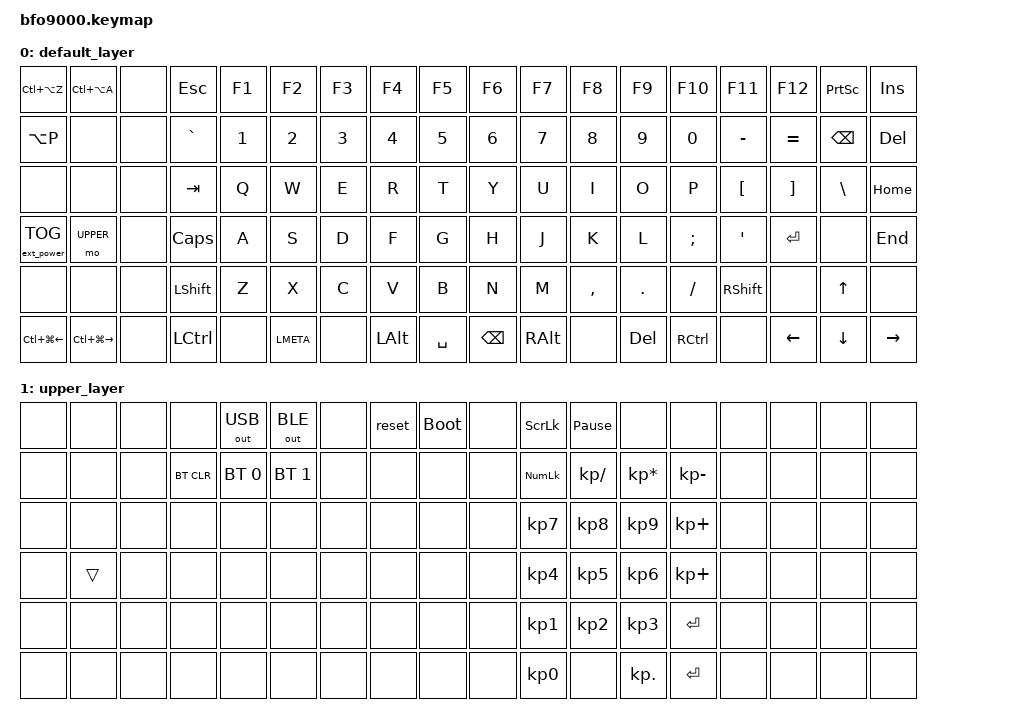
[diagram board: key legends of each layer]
/*
 * Copyright (c) 2020 The ZMK Contributors
 *
 * SPDX-License-Identifier: MIT
 */

#include <behaviors.dtsi>
#include <dt-bindings/zmk/keys.h>
#include <dt-bindings/zmk/bt.h>
#include <dt-bindings/zmk/outputs.h>
#include <dt-bindings/zmk/ext_power.h>	
#include <dt-bindings/zmk/rgb.h>

&kscan0 {
    debounce-period = <20>;
};

&i2c0 {
    status = "okay";
    sda-pin = <17>;
    scl-pin = <20>;

    oled: ssd1306@3c {
        compatible = "solomon,ssd1306fb";
        reg = <0x3c>;
        label = "DISPLAY";
        width = <128>;
        height = <32>;
        segment-offset = <0>;
        page-offset = <0>;
        display-offset = <0>;
        multiplex-ratio = <31>;
        com-invdir;
        segment-remap;
        com-sequential;
        prechargep = <0x22>;
    };
};

#define DEFAULT 0
#define UPPER   1

/ {
	keymap {
		compatible = "zmk,keymap";

		default_layer {
			bindings = <
			&kp LC(LA(Z))    &kp LC(LA(A))      &none          &kp ESC         &kp F1          &kp F2          &kp F3       &kp F4       &kp F5       &kp F6           &kp F7            &kp F8          &kp F9          &kp F10         &kp F11         &kp F12      &kp PSCRN    &kp INS
			&kp LA(P)        &none              &none          &kp GRAVE       &kp N1          &kp N2          &kp N3       &kp N4       &kp N5       &kp N6           &kp N7            &kp N8          &kp N9          &kp N0          &kp MINUS       &kp EQUAL    &kp BSPC     &kp DEL
			&none            &none              &none          &kp TAB         &kp Q           &kp W           &kp E        &kp R        &kp T        &kp Y            &kp U             &kp I           &kp O           &kp P           &kp LBKT        &kp RBKT     &kp BSLH     &kp HOME
			&ext_power EP_TOG &mo UPPER         &none          &kp CAPS        &kp A           &kp S           &kp D        &kp F        &kp G        &kp H            &kp J             &kp K           &kp L           &kp SEMI        &kp APOS        &kp ENTER    &none        &kp END
			&none            &none              &none          &kp LSHFT       &kp Z           &kp X           &kp C        &kp V        &kp B        &kp N            &kp M             &kp COMMA       &kp DOT         &kp SLASH       &kp RSHFT       &none        &kp UP       &none
			&kp LC(LG(LEFT)) &kp LC(LG(RIGHT))  &none          &kp LCTRL       &none           &kp LMETA       &none        &kp LALT     &kp SPACE    &kp BSPC         &kp RALT          &none           &kp DEL         &kp RCTRL       &none           &kp LEFT     &kp DOWN     &kp RIGHT
			>;
		};

		upper_layer {
			bindings = <
			&none            &none             &none           &none           &out OUT_USB    &out OUT_BLE    &none        &reset       &bootloader  &none            &kp SCROLLLOCK    &kp PAUSE_BREAK &none           &none           &none           &none        &none        &none
			&none            &none             &none           &bt BT_CLR      &bt BT_SEL 0    &bt BT_SEL 1    &none        &none        &none        &none            &kp KP_NUMLOCK    &kp KP_DIVIDE   &kp KP_MULTIPLY &kp KP_MINUS    &none           &none        &none        &none
			&none            &none             &none           &none           &none           &none           &none        &none        &none        &none            &kp KP_N7         &kp KP_N8       &kp KP_N9       &kp KP_PLUS     &none           &none        &none        &none
			&none            &trans            &none           &none           &none           &none           &none        &none        &none        &none            &kp KP_N4         &kp KP_N5       &kp KP_N6       &kp KP_PLUS     &none           &none        &none        &none
			&none            &none             &none           &none           &none           &none           &none        &none        &none        &none            &kp KP_N1         &kp KP_N2       &kp KP_N3       &kp ENTER       &none           &none        &none        &none
			&none            &none             &none           &none           &none           &none           &none        &none        &none        &none            &kp KP_N0         &none           &kp KP_DOT      &kp ENTER       &none           &none        &none        &none
			>;
		};
	};
};
